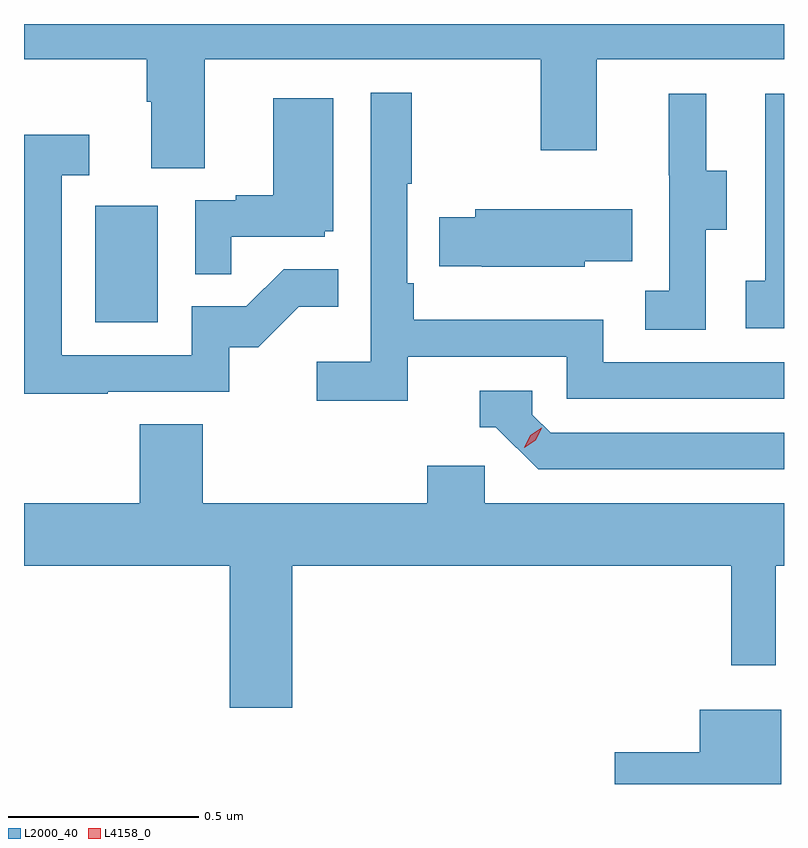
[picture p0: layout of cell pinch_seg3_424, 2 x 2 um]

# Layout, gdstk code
import gdstk
lib = gdstk.Library(unit=1e-6, precision=1e-09)
def R(c, l, rs):  # rectangles x0, y0, x1, y1
    for r in rs: c.add(gdstk.rectangle(r[:2], r[2:], *l))
def P(c, l, *ps):  # polygons
    for p in ps: c.add(gdstk.Polygon(p, *l))
L2000_40 = (2000, 40)
L4158_0 = (4158, 0)

pinch_seg3_424 = lib.new_cell('pinch_seg3_424')
R(pinch_seg3_424, L2000_40, [(943.874,701.556,944.038,701.863)])
P(pinch_seg3_424, L2000_40, [(944.161,702.248),(945.046,702.248),(945.046,702.009),(945.193,702.009),(945.193,702.248),(945.686,702.248),(945.686,702.341),(943.686,702.341),(943.686,702.248),(944.009,702.248),(944.009,702.136),(944.021,702.136),(944.021,701.962),(944.161,701.962)],
  [(944.696,701.466),(945.114,701.466),(945.114,701.355),(945.686,701.355),(945.686,701.451),(945.21,701.451),(945.21,701.563),(944.711,701.563),(944.711,701.659),(944.694,701.659),(944.694,701.92),(944.707,701.92),(944.707,702.16),(944.598,702.16),(944.598,701.452),(944.457,701.452),(944.457,701.35),(944.696,701.35)],
  [(945.48,701.8),(945.535,701.8),(945.535,701.955),(945.481,701.955),(945.481,702.157),(945.383,702.157),(945.383,701.943),(945.384,701.943),(945.384,701.639),(945.321,701.639),(945.321,701.536),(945.48,701.536)],
  [(945.686,702.157),(945.636,702.157),(945.636,701.666),(945.585,701.666),(945.585,701.541),(945.686,701.541)],
  [(944.231,701.781),(944.478,701.781),(944.478,701.796),(944.5,701.796),(944.5,702.145),(944.342,702.145),(944.342,701.89),(944.243,701.89),(944.243,701.877),(944.136,701.877),(944.136,701.683),(944.231,701.683)],
  [(943.907,701.373),(944.226,701.373),(944.226,701.49),(944.302,701.49),(944.409,701.597),(944.513,701.597),(944.513,701.696),(944.369,701.696),(944.271,701.598),(944.127,701.598),(944.127,701.469),(943.785,701.469),(943.785,701.943),(943.858,701.943),(943.858,702.049),(943.686,702.049),(943.686,701.368),(943.907,701.368)],
  [(945.162,701.717),(945.287,701.717),(945.287,701.854),(944.873,701.854),(944.873,701.832),(944.779,701.832),(944.779,701.703),(944.89,701.703),(944.89,701.702),(945.162,701.702)],
  [(945.686,701.265),(945.072,701.265),(945.024,701.313),(945.024,701.376),(944.885,701.376),(944.885,701.28),(944.928,701.28),(945.039,701.169),(945.686,701.169)],
  [(944.392,700.916),(945.547,700.916),(945.547,700.653),(945.664,700.653),(945.664,700.916),(945.686,700.916),(945.686,701.08),(944.898,701.08),(944.898,701.178),(944.747,701.178),(944.747,701.08),(944.156,701.08),(944.156,701.288),(943.991,701.288),(943.991,701.08),(943.686,701.08),(943.686,700.916),(944.228,700.916),(944.228,700.542),(944.392,700.542)],
  [(945.679,700.537),(945.464,700.537),(945.464,700.424),(945.24,700.424),(945.24,700.341),(945.679,700.341)])
P(pinch_seg3_424, L4158_0, [(945.002,701.226),(945.002,701.226),(945.018,701.259),(945.048,701.279),(945.048,701.279),(945.048,701.279),(945.033,701.246),(945.002,701.226)])

lib.write_gds('pinch_seg3_424.gds')
